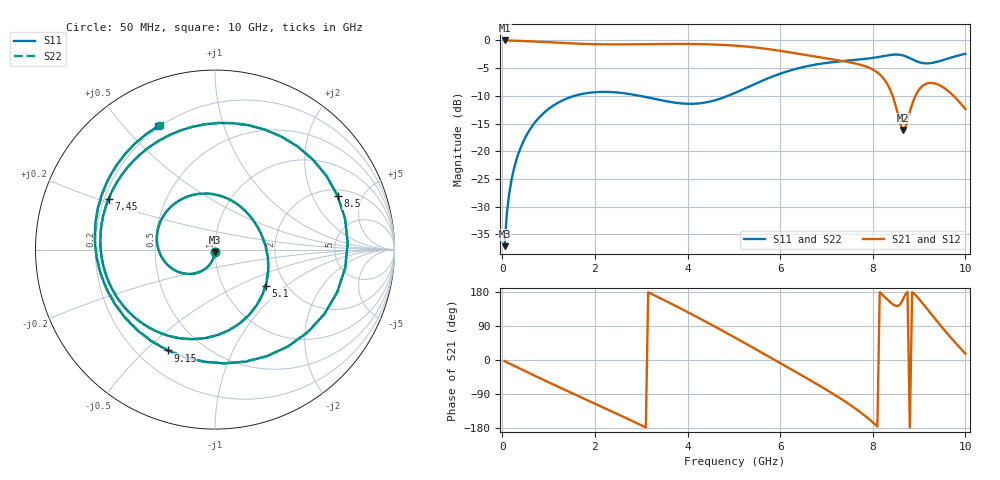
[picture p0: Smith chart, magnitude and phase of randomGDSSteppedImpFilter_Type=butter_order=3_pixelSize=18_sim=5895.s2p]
! freq	dB(S11)	phase(S11)	dB(S12)	phase(S12)
!  dB(S21)	phase(S21)	dB(S22)	phase(S22)
!S-par simulation data
#  GHz  S  DB  R 50
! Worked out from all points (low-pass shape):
!   200 points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, 50 MHz to 10 GHz, reference 50 ohm
!   highest |S21| = 0.00 dB at 50 MHz (marker M1); lowest = -16.2 dB at 8.65 GHz (marker M2)
!   |S21| within 3 dB of the highest: start of sweep to 6.822 GHz
!   lowest |S11| = -37.1 dB at 50 MHz (marker M3), VSWR 1.03, Z = 49.9 - j1.39 ohm
!   |S11| at or under -10 dB: start of sweep to 1.559 GHz; 2.972 GHz to 4.87 GHz (1.898 GHz wide, 48.4 % of centre)
!   |S22| runs from -37.1 to -2.4 dB; largest |S21 - S12| = 0
!   S11 on the Smith chart (normalised r, x): 50 MHz: 1.00, -0.03; 5.1 GHz: 1.58, -0.73; 7.45 GHz: 0.22, +0.22; 8.5 GHz: 2.33, +3.15; 9.15 GHz: 0.32, -0.59; 10 GHz: 0.19, +0.62
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0.05  -37.12 -92.4  -0.00 -3.0  -0.00 -3.0  -37.12 -92.4
0.1  -31.09 -95.8  -0.01 -6.0  -0.01 -6.0  -31.09 -95.8
0.2  -25.11 -102.1  -0.03 -12.0  -0.03 -12.0  -25.11 -102.1
0.5  -17.46 -120.3  -0.12 -29.8  -0.12 -29.8  -17.46 -120.3
1.15  -11.50 -157.9  -0.40 -67.3  -0.40 -67.3  -11.50 -157.9
1.75  -9.61 168.5  -0.63 -101.0  -0.63 -101.0  -9.62 168.3
2.65  -9.55 117.9  -0.71 -151.8  -0.71 -151.8  -9.55 117.6
3.4  -10.74 73.9  -0.64 163.8  -0.64 163.8  -10.74 73.4
4.3  -11.31 17.6  -0.67 107.2  -0.67 107.2  -11.31 16.8
5.05  -9.37 -32.4  -0.95 57.4  -0.95 57.4  -9.38 -33.2
5.1  -9.19 -35.8  -0.98 54.0  -0.98 54.0  -9.19 -36.6
5.85  -6.46 -87.8  -1.69 2.3  -1.69 2.3  -6.47 -88.4
6.7  -4.45 -147.9  -2.84 -57.0  -2.84 -57.0  -4.45 -148.2
7.45  -3.65 154.5  -3.87 -113.3  -3.87 -113.3  -3.65 154.3
8  -3.15 100.6  -5.24 -164.4  -5.24 -164.4  -3.15 100.6
8.35  -2.66 51.4  -8.43 155.4  -8.43 155.4  -2.66 51.5
8.5  -2.54 23.7  -11.93 142.7  -11.93 142.7  -2.55 23.8
8.65  -2.70 -8.1  -16.16 159.5  -16.16 159.5  -2.71 -8.0
8.9  -3.60 -64.0  -10.40 174.1  -10.40 174.1  -3.61 -64.1
9.15  -4.14 -115.1  -7.83 138.1  -7.83 138.1  -4.16 -115.6
9.55  -3.46 176.1  -8.63 78.3  -8.63 78.3  -3.47 175.4
10  -2.41 114.7  -12.39 16.9  -12.39 16.9  -2.41 114.0
